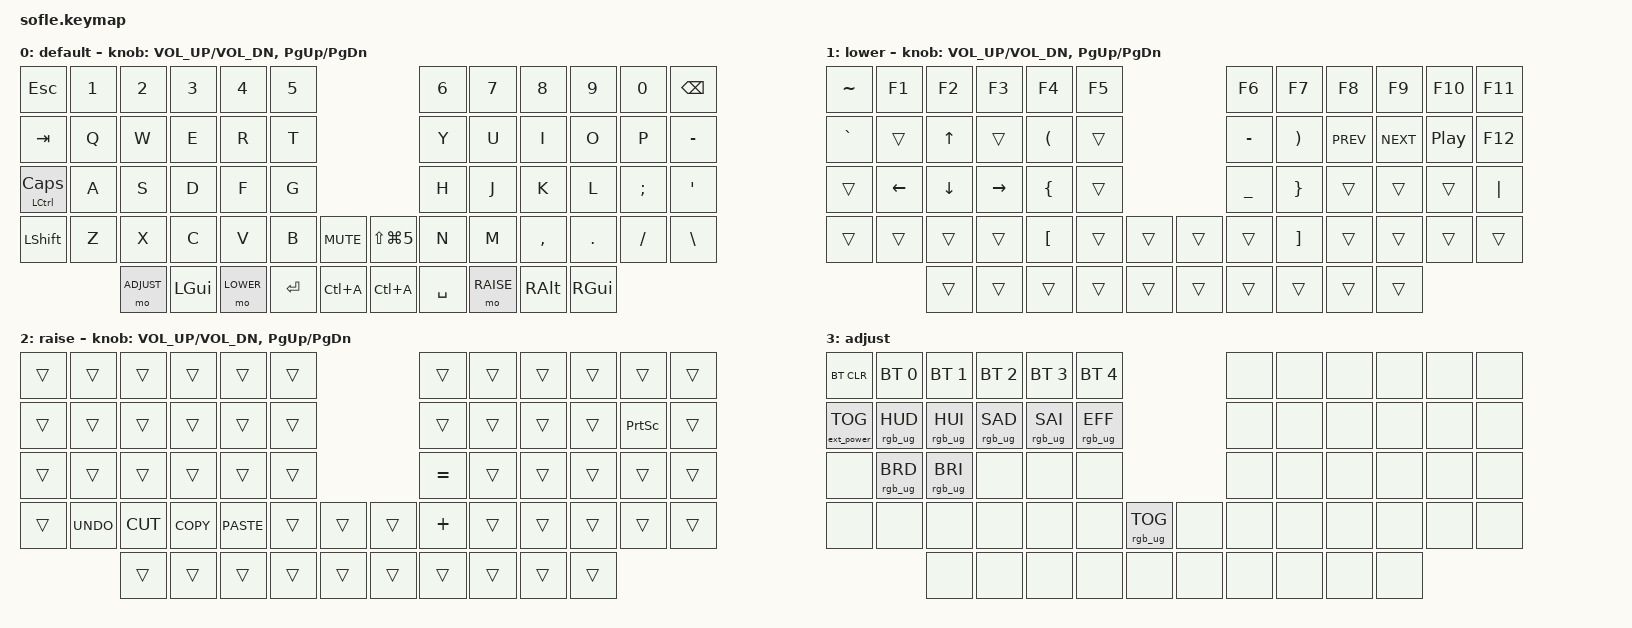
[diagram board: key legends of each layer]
/*
 * Copyright (c) 2020 The ZMK Contributors
 *
 * SPDX-License-Identifier: MIT
 */

#include <behaviors.dtsi>
#include <dt-bindings/zmk/keys.h>
#include <dt-bindings/zmk/bt.h>
#include <dt-bindings/zmk/rgb.h>
#include <dt-bindings/zmk/ext_power.h>

#define BASE 0
#define LOWER 1
#define RAISE 2
#define ADJUST 3

&led_strip {
       chain-length = <36>;
};

&nice_view_spi {
    cs-gpios = <&pro_micro 4 GPIO_ACTIVE_HIGH>;
};

/ {

   // Activate ADJUST layer by pressing raise and lower
    conditional_layers {
        compatible = "zmk,conditional-layers";
        adjust_layer {
            if-layers = <LOWER RAISE>;
            then-layer = <ADJUST>;
        };
    };

    keymap {
        compatible = "zmk,keymap";

        default_layer {
            display-name = "default";
// ------------------------------------------------------------------------------------------------------------
// |   ESC   |  1  |  2  |  3   |  4   |  5   |                   |  6   |  7    |  8    |  9   |   0   | BKSPC |
// |   TAB   |  Q  |  W  |  E   |  R   |  T   |                   |  Y   |  U    |  I    |  O   |   P   |   -   |
// |CTRL/CAPS|  A  |  S  |  D   |  F   |  G   |                   |  H   |  J    |  K    |  L   |   ;   |   '   |
// |  SHIFT  |  Z  |  X  |  C   |  V   |  B   |  MUTE  |  | SHOT  |  N   |  M    |  ,    |  .   |   /   |   \   |
//             | ADJUST | GUI | LOWER | ENTER | CTRL+A |  |CTRL+A | SPACE | RAISE | ALT  | GUI  |
//
// CTRL/CAPS: hold = LCTRL, tap = CAPS.  SHOT: Shift+Cmd+5 (macOS screenshot).
            bindings = <
&kp ESC        &kp N1   &kp N2   &kp N3    &kp N4    &kp N5                                  &kp N6    &kp N7    &kp N8    &kp N9   &kp N0   &kp BSPC
&kp TAB        &kp Q    &kp W    &kp E     &kp R     &kp T                                   &kp Y     &kp U     &kp I     &kp O    &kp P    &kp MINUS
&mt LCTRL CAPS &kp A    &kp S    &kp D     &kp F     &kp G                                   &kp H     &kp J     &kp K     &kp L    &kp SEMI &kp SQT
&kp LSHFT      &kp Z    &kp X    &kp C     &kp V     &kp B      &kp C_MUTE &kp LS(LG(N5))    &kp N     &kp M     &kp COMMA &kp DOT  &kp FSLH &kp BSLH
                        &mo ADJUST &kp LGUI &mo LOWER &kp RET   &kp LC(A)  &kp LC(A)         &kp SPACE &mo RAISE &kp RALT  &kp RGUI
            >;

            sensor-bindings = <&inc_dec_kp C_VOL_UP C_VOL_DN &inc_dec_kp PG_UP PG_DN>;
        };

        lower_layer {
            display-name = "lower";
// TODO: Some binds are waiting for shifted keycode support.
// ------------------------------------------------------------------------------------------------------------
// |   ~   |  F1 |  F2 |  F3  |  F4  |  F5  |                   |  F6  |  F7   |  F8   |  F9  |  F10  |  F11  |
// |   `   |     |  ^  |      |  (   |      |                   |  -   |  )    | PREV  | NEXT | PLAY  |  F12  |
// |       |  <- |  v  |  ->  |  {   |      |                   |  _   |  }    |       |      |       |   |   |
// |       |     |     |      |  [   |      |        |  |       |      |  ]    |       |      |       |       |
//               |     |      |      |      |        |  |       |      |       |       |      |
            bindings = <
&kp TILDE &kp F1    &kp F2    &kp F3      &kp F4    &kp F5                    &kp F6    &kp F7   &kp F8     &kp F9     &kp F10   &kp F11
&kp GRAVE &trans    &kp UP    &trans      &kp LPAR  &trans                    &kp MINUS &kp RPAR &kp C_PREV &kp C_NEXT &kp C_PP  &kp F12
&trans    &kp LEFT  &kp DOWN  &kp RIGHT   &kp LBRC  &trans                    &kp UNDER &kp RBRC &trans     &trans     &trans    &kp PIPE
&trans    &trans    &trans    &trans      &kp LBKT  &trans     &trans &trans  &trans    &kp RBKT &trans     &trans     &trans    &trans
                    &trans    &trans      &trans    &trans     &trans &trans  &trans    &trans   &trans    &trans
            >;

            sensor-bindings = <&inc_dec_kp C_VOL_UP C_VOL_DN &inc_dec_kp PG_UP PG_DN>;
        };

        raise_layer {
            display-name = "raise";
// ------------------------------------------------------------------------------------------------------------
// |       |      |      |       |       |      |                |      |      |       |      |       |       |
// |       |      |      |       |       |      |                |      |      |       |      | PSCR  |       |
// |       |      |      |       |       |      |                |  =   |      |       |      |       |       |
// |       | UNDO | CUT  | COPY  | PASTE |      |      |  |      |   +  |      |       |      |       |       |
//                |      |       |       |      |      |  |      |      |      |       |      |
            bindings = <
&trans     &trans       &trans       &trans       &trans       &trans                        &trans    &trans    &trans   &trans    &trans    &trans
&trans     &trans       &trans       &trans       &trans       &trans                        &trans    &trans    &trans   &trans    &kp PSCRN &trans
&trans     &trans       &trans       &trans       &trans       &trans                        &kp EQUAL &trans    &trans   &trans    &trans    &trans
&trans     &kp K_UNDO   &kp K_CUT    &kp K_COPY   &kp K_PASTE  &trans        &trans  &trans  &kp PLUS  &trans    &trans   &trans    &trans  &trans
                        &trans       &trans       &trans       &trans        &trans  &trans  &trans    &trans    &trans   &trans
            >;

            sensor-bindings = <&inc_dec_kp C_VOL_UP C_VOL_DN &inc_dec_kp PG_UP PG_DN>;
        };

        adjust_layer {
// ----------------------------------------------------------------------------------------------------------------------------
// | BTCLR  |  BT1    |  BT2    |   BT3   |   BT4   |   BT5   |                  |      |      |       |      |       |       |
// | EXTPWR | RGB_HUD | RGB_HUI | RGB_SAD | RGB_SAI | RGB_EFF |                  |      |      |       |      |       |       |
// |        | RGB_BRD | RGB_BRI |         |         |         |                  |      |      |       |      |       |       |
// |        |         |         |         |         |         | RGB_TOG | |      |      |      |       |      |       |       |
//                    |         |         |         |         |         | |      |      |      |       |      |
            display-name = "adjust";
            bindings = <
&bt BT_CLR        &bt BT_SEL 0    &bt BT_SEL 1    &bt BT_SEL 2    &bt BT_SEL 3    &bt BT_SEL 4                            &none &none &none &none &none &none
&ext_power EP_TOG &rgb_ug RGB_HUD &rgb_ug RGB_HUI &rgb_ug RGB_SAD &rgb_ug RGB_SAI &rgb_ug RGB_EFF                         &none &none &none &none &none &none
&none             &rgb_ug RGB_BRD &rgb_ug RGB_BRI &none           &none           &none                                   &none &none &none &none &none &none
&none             &none           &none           &none           &none           &none            &rgb_ug RGB_TOG &none  &none &none &none &none &none &none
                                  &none           &none           &none           &none            &none           &none  &none &none &none &none
            >;
        };

    };
};
